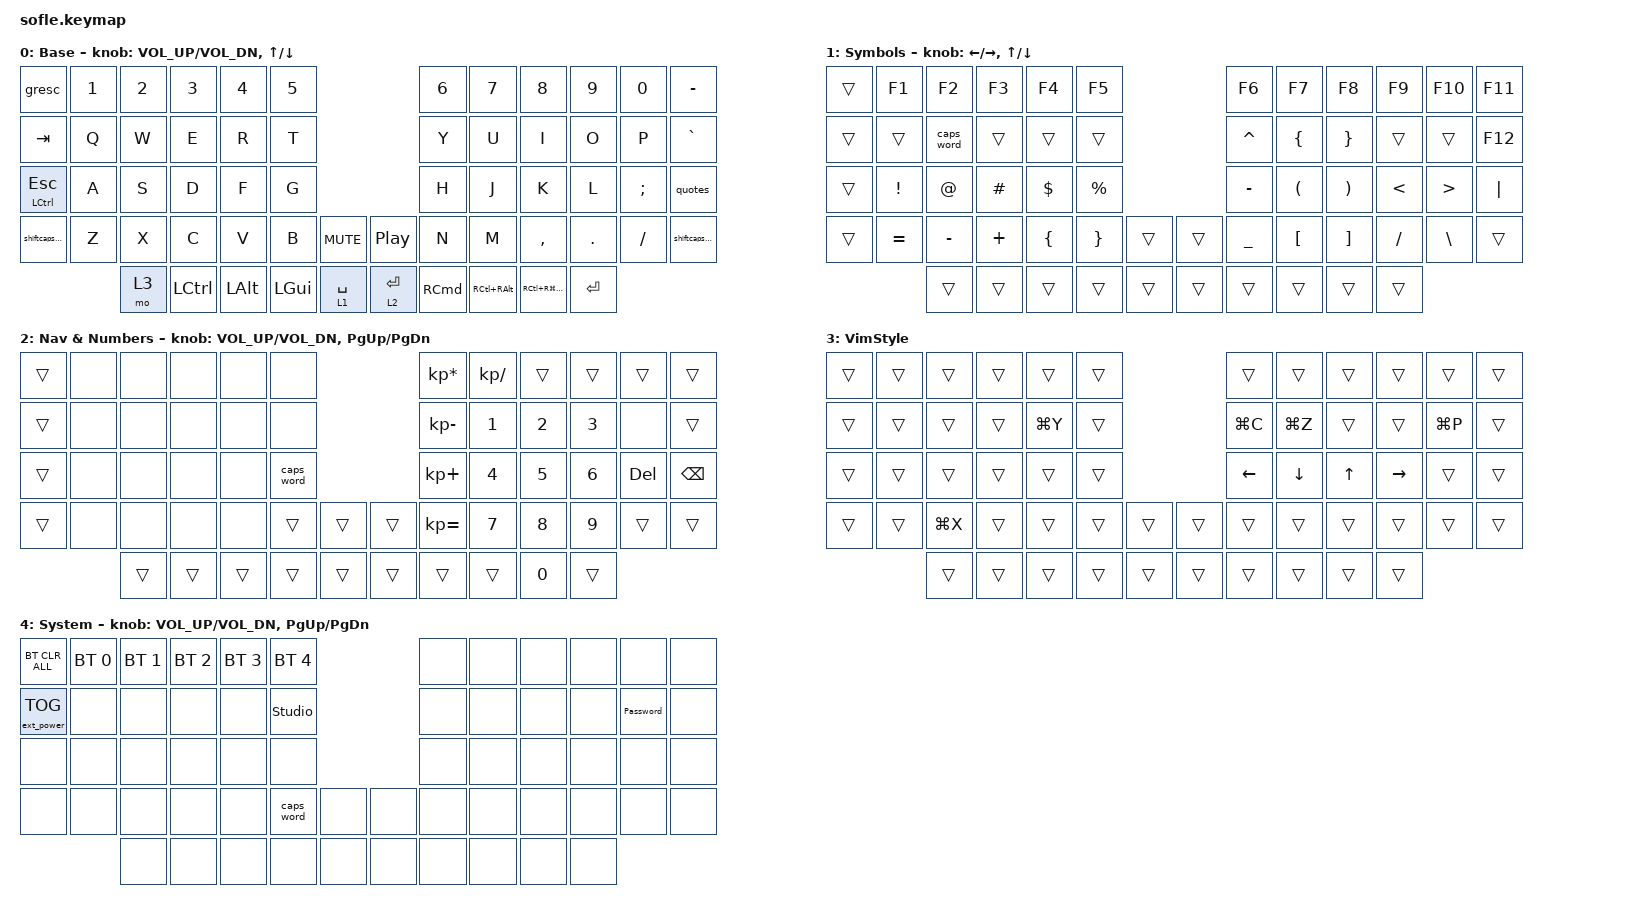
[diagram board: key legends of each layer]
/*
 * Copyright (c) 2020 The ZMK Contributors
 *
 * SPDX-License-Identifier: MIT
 */

#include <behaviors.dtsi>
#include <dt-bindings/zmk/bt.h>
#include <dt-bindings/zmk/ext_power.h>
#include <dt-bindings/zmk/keys.h>

// Encoders

&sensors { triggers-per-rotation = <30>; };

&left_encoder { steps = <60>; };

&right_encoder { steps = <60>; };

#define BASE 0
#define LOWER 1
#define RAISE 2
#define ADJUST 3

/ {
    // Activate ADJUST layer by pressing raise and lower

    conditional_layers {
        compatible = "zmk,conditional-layers";

        adjust_layer {
            if-layers = <1 2>;
            then-layer = <4>;
        };
    };

    combos {
        compatible = "zmk,combos";

        backspace {
            bindings = <&kp BACKSPACE>;
            key-positions = <32 31>;
        };

        delete {
            bindings = <&kp DELETE>;
            key-positions = <27 33>;
        };

        enter {
            bindings = <&kp ENTER>;
            key-positions = <19 20>;
        };
    };

    behaviors {
        caps: caps {
            compatible = "zmk,behavior-caps-word";
            label = "CAPS";
            #binding-cells = <0>;
            continue-list = <POUND MINUS BACKSPACE UNDERSCORE>;
        };

        shiftcapsword: shiftcapsword {
            compatible = "zmk,behavior-tap-dance";
            label = "SHIFTCAPSWORD";
            #binding-cells = <0>;
            bindings = <&kp LSHFT>, <&caps_word>;
        };

        quotes: quotes {
            compatible = "zmk,behavior-tap-dance";
            label = "QUOTES";
            #binding-cells = <0>;
            bindings = <&kp SINGLE_QUOTE>, <&kp DOUBLE_QUOTES>;
        };
    };

    macros {
        Password: Password {
            compatible = "zmk,behavior-macro";
            #binding-cells = <0>;
            bindings = <&kp DLLR &kp T &kp R &kp A &kp W &kp H &kp A &kp T &kp LS(N) &kp A &kp M &kp I &kp N9 &kp N8>;
            label = "PASSWORD";
        };
    };

    keymap {
        compatible = "zmk,keymap";

        default_layer {
            display-name = "Base";

            // ------------------------------------------------------------------------------------------------------------
            // |   `   |  1  |  2  |  3   |  4   |  5   |                   |  6   |  7    |  8    |  9   |   0   |       |
            // |  ESC  |  Q  |  W  |  E   |  R   |  T   |                   |  Y   |  U    |  I    |  O   |   P   | BKSPC |
            // |  TAB  |  A  |  S  |  D   |  F   |  G   |                   |  H   |  J    |  K    |  L   |   ;   |   '   |
            // | SHIFT |  Z  |  X  |  C   |  V   |  B   |  MUTE  |  |       |  N   |  M    |  ,    |  .   |   /   | SHIFT |
            //               | GUI | ALT  | CTRL | LOWER|  ENTER |  | SPACE | RAISE| CTRL  | ALT   | GUI  |

            bindings = <
&gresc                   &kp N1  &kp N2  &kp N3     &kp N4        &kp N5                                         &kp N6    &kp N7             &kp N8                     &kp N9     &kp N0    &kp MINUS
&kp TAB                  &kp Q   &kp W   &kp E      &kp R         &kp T                                          &kp Y     &kp U              &kp I                      &kp O      &kp P     &kp GRAVE
&mt LEFT_CONTROL ESCAPE  &kp A   &kp S   &kp D      &kp F         &kp G                                          &kp H     &kp J              &kp K                      &kp L      &kp SEMI  &quotes
&shiftcapsword           &kp Z   &kp X   &kp C      &kp V         &kp B         &kp C_MUTE     &kp C_PLAY_PAUSE  &kp N     &kp M              &kp COMMA                  &kp DOT    &kp FSLH  &shiftcapsword
                                 &mo 3   &kp LCTRL  &kp LEFT_ALT  &kp LEFT_GUI  &lt 1 SPACE    &lt 2 ENTER       &kp RCMD  &kp RC(RIGHT_ALT)  &kp RC(RG(RS(RIGHT_ALT)))  &kp ENTER
            >;

            sensor-bindings = <&inc_dec_kp C_VOL_UP C_VOL_DN &inc_dec_kp UP DOWN>;
        };

        lower_layer {
            display-name = "Symbols";

            // TODO: Some binds are waiting for shifted keycode support.
            // ------------------------------------------------------------------------------------------------------------
            // |       |  F1 |  F2 |  F3  |  F4  |  F5  |                   |  F6  |  F7   |  F8   |  F9  |  F10  |  F11  |
            // |   `   |  1  |  2  |  3   |  4   |  5   |                   |  6   |  7    |  8    |  9   |   0   |  F12  |
            // |       |  !  |  @  |  #   |  $   |  %   |                   |  ^   |  &    |  *    |  (   |   )   |   |   |
            // |       |  =  |  -  |  +   |  {   |  }   |        |  |       |  [   |  ]    |  ;    |  :   |   \   |       |
            //               |     |      |      |      |        |  |       |      |       |       |      |

            bindings = <
&trans  &kp F1     &kp F2      &kp F3    &kp F4    &kp F5                       &kp F6          &kp F7                &kp F8                 &kp F9         &kp F10           &kp F11
&trans  &trans     &caps_word  &trans    &trans    &trans                       &kp CARET       &kp LEFT_BRACE        &kp RIGHT_BRACE        &trans         &trans            &kp F12
&trans  &kp EXCL   &kp AT      &kp HASH  &kp DLLR  &kp PRCNT                    &kp MINUS       &kp LEFT_PARENTHESIS  &kp RIGHT_PARENTHESIS  &kp LESS_THAN  &kp GREATER_THAN  &kp PIPE
&trans  &kp EQUAL  &kp MINUS   &kp PLUS  &kp LBRC  &kp RBRC   &trans    &trans  &kp UNDERSCORE  &kp LEFT_BRACKET      &kp RIGHT_BRACKET      &kp SLASH      &kp BACKSLASH     &trans
                   &trans      &trans    &trans    &trans     &trans    &trans  &trans          &trans                &trans                 &trans
            >;

            sensor-bindings =
                <&inc_dec_kp LEFT_ARROW RIGHT_ARROW>,
                <&inc_dec_kp UP_ARROW DOWN_ARROW>;
        };

        raise_layer {
            display-name = "Nav & Numbers";

            // ------------------------------------------------------------------------------------------------------------
            // | BTCLR | BT1  | BT2  |  BT3  |  BT4  |  BT5 |                |      |      |       |      |       |       |
            // |       | INS  | PSCR | GUI   |       |      |                | PGUP |      |   ^   |      |       |       |
            // |       | ALT  | CTRL | SHIFT |       | CAPS |                | PGDN |   <- |   v   |  ->  |  DEL  | BKSPC |
            // |       | UNDO | CUT  | COPY  | PASTE |      |      |  |      |      |      |       |      |       |       |
            //                |      |       |       |      |      |  |      |      |      |       |      |

            bindings = <
&trans  &none  &none   &none   &none   &none                         &kp KP_ASTERISK  &kp KP_DIVIDE  &trans        &trans        &trans   &trans
&trans  &none  &none   &none   &none   &none                         &kp KP_SUBTRACT  &kp NUMBER_1   &kp NUMBER_2  &kp NUMBER_3  &none    &trans
&trans  &none  &none   &none   &none   &caps_word                    &kp KP_PLUS      &kp NUMBER_4   &kp NUMBER_5  &kp NUMBER_6  &kp DEL  &kp BSPC
&trans  &none  &none   &none   &none   &trans      &trans    &trans  &kp KP_EQUAL     &kp NUMBER_7   &kp NUMBER_8  &kp NUMBER_9  &trans   &trans
               &trans  &trans  &trans  &trans      &trans    &trans  &trans           &trans         &kp NUMBER_0  &trans
            >;

            sensor-bindings = <&inc_dec_kp C_VOL_UP C_VOL_DN &inc_dec_kp PG_UP PG_DN>;
        };

        VimStyle {
            bindings = <
&trans  &trans  &trans     &trans  &trans     &trans                    &trans     &trans          &trans        &trans     &trans     &trans
&trans  &trans  &trans     &trans  &kp LG(Y)  &trans                    &kp LG(C)  &kp LG(Z)       &trans        &trans     &kp LG(P)  &trans
&trans  &trans  &trans     &trans  &trans     &trans                    &kp LEFT   &kp DOWN_ARROW  &kp UP_ARROW  &kp RIGHT  &trans     &trans
&trans  &trans  &kp LG(X)  &trans  &trans     &trans  &trans    &trans  &trans     &trans          &trans        &trans     &trans     &trans
                &trans     &trans  &trans     &trans  &trans    &trans  &trans     &trans          &trans        &trans
            >;
        };

        adjust_layer {
            // ----------------------------------------------------------------------------------------------------------------------------
            // | BTCLR  |  BT1    |  BT2    |   BT3   |   BT4   |   BT5   |                  |      |      |       |      |       |       |
            // | EXTPWR | RGB_HUD | RGB_HUI | RGB_SAD | RGB_SAI | RGB_EFF |                  |      |      |       |      |       |       |
            // |        | RGB_BRD | RGB_BRI |         |         |         |                  |      |      |       |      |       |       |
            // |        |         |         |         |         |         | RGB_TOG | |      |      |      |       |      |       |       |
            //                    |         |         |         |         |         | |      |      |      |       |      |

            display-name = "System";
            bindings = <
&bt BT_CLR_ALL     &bt BT_SEL 0  &bt BT_SEL 1  &bt BT_SEL 2  &bt BT_SEL 3  &bt BT_SEL 4                    &none  &none  &none  &none  &none      &none
&ext_power EP_TOG  &none         &none         &none         &none         &studio_unlock                  &none  &none  &none  &none  &Password  &none
&none              &none         &none         &none         &none         &none                           &none  &none  &none  &none  &none      &none
&none              &none         &none         &none         &none         &caps_word      &none    &none  &none  &none  &none  &none  &none      &none
                                 &none         &none         &none         &none           &none    &none  &none  &none  &none  &none
            >;

            sensor-bindings = <&inc_dec_kp C_VOL_UP C_VOL_DN &inc_dec_kp PG_UP PG_DN>;
        };
    };
};
